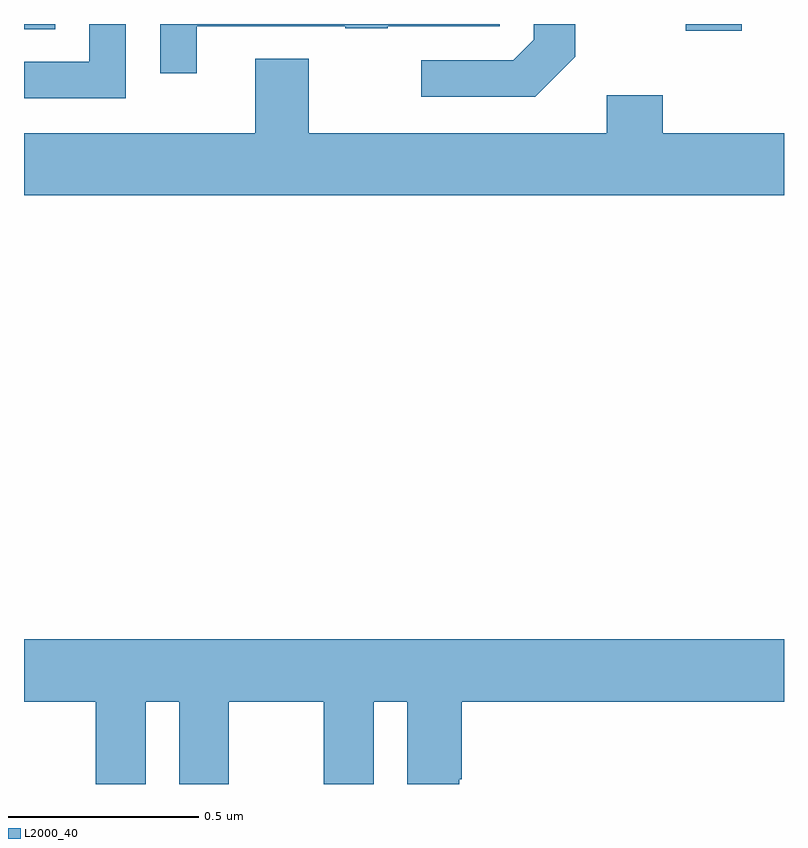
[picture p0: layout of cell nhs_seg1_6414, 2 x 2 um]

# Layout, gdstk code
import gdstk
lib = gdstk.Library(unit=1e-6, precision=1e-09)
def R(c, l, rs):  # rectangles x0, y0, x1, y1
    for r in rs: c.add(gdstk.rectangle(r[:2], r[2:], *l))
def P(c, l, *ps):  # polygons
    for p in ps: c.add(gdstk.Polygon(p, *l))
L2000_40 = (2000, 40)

nhs_seg1_6414 = lib.new_cell('nhs_seg1_6414')
R(nhs_seg1_6414, L2000_40, [(192.741,536.181,192.889,536.199), (191,536.185,191.082,536.199)])
P(nhs_seg1_6414, L2000_40, [(191.455,536.193),(191.845,536.193),(191.845,536.188),(191.957,536.188),(191.957,536.193),(192.252,536.193),(192.252,536.199),(191.359,536.199),(191.359,536.07),(191.455,536.07)],
  [(192.451,536.113),(192.451,536.199),(192.342,536.199),(192.342,536.157),(192.288,536.103),(192.045,536.103),(192.045,536.007),(192.345,536.007)],
  [(191.268,536.199),(191.172,536.199),(191.172,536.1),(191,536.1),(191,536.004),(191.268,536.004)],
  [(193,535.912),(192.681,535.912),(192.681,536.011),(192.533,536.011),(192.533,535.912),(191.749,535.912),(191.749,536.107),(191.609,536.107),(191.609,535.912),(191,535.912),(191,535.748),(193,535.748)],
  [(191,534.416),(191.189,534.416),(191.189,534.199),(191.32,534.199),(191.32,534.416),(191.408,534.416),(191.408,534.199),(191.539,534.199),(191.539,534.416),(191.789,534.416),(191.789,534.199),(191.92,534.199),(191.92,534.416),(192.008,534.416),(192.008,534.199),(192.145,534.199),(192.145,534.211),(192.152,534.211),(192.152,534.416),(193,534.416),(193,534.58),(191,534.58)])

lib.write_gds('nhs_seg1_6414.gds')
